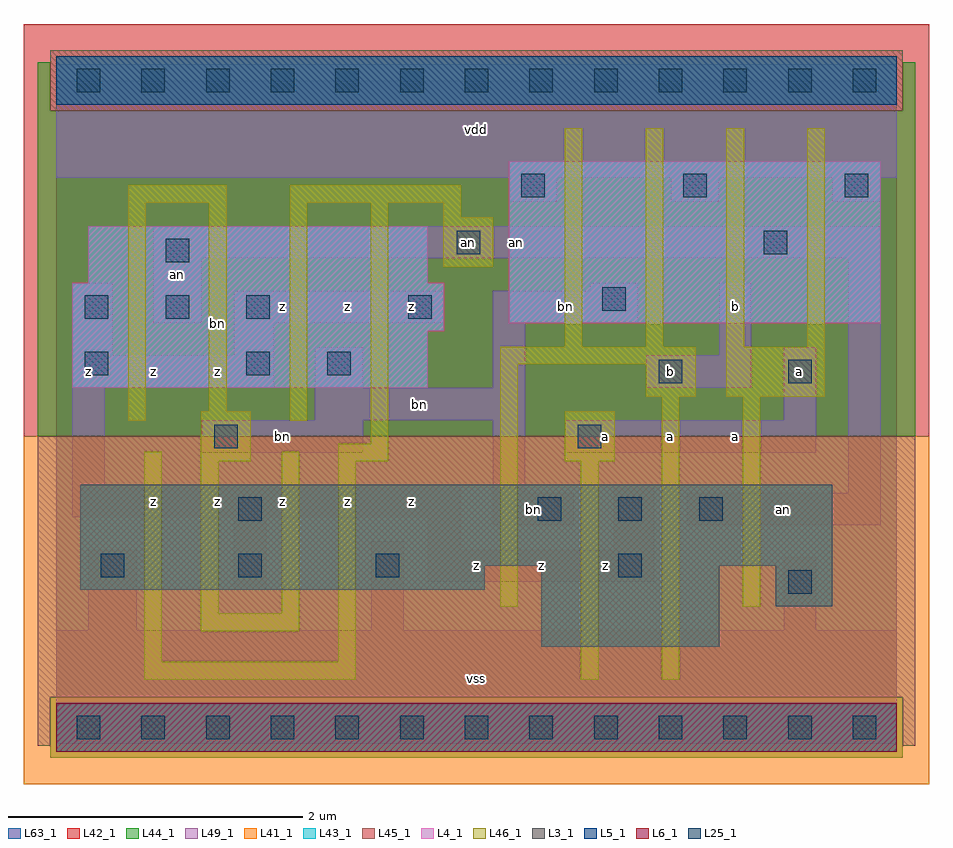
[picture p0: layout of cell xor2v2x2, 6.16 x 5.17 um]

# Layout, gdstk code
import gdstk
lib = gdstk.Library(unit=1e-6, precision=1e-09)
def R(c, l, rs):  # rectangles x0, y0, x1, y1
    for r in rs: c.add(gdstk.rectangle(r[:2], r[2:], *l))
def A(c, l, x, y, w, h, nx, ny, dx, dy):  # array of equal rectangles
    R(c, l, [(x+i*dx, y+j*dy, x+i*dx+w, y+j*dy+h) for i in range(nx) for j in range(ny)])
L3_1 = (3, 1)
L4_1 = (4, 1)
L5_1 = (5, 1)
L6_1 = (6, 1)
L25_1 = (25, 1)
L41_1 = (41, 1)
L42_1 = (42, 1)
L43_1 = (43, 1)
L44_1 = (44, 1)
L45_1 = (45, 1)
L46_1 = (46, 1)
L49_1 = (49, 1)
L63_1 = (63, 1)

xor2v2x2 = lib.new_cell('xor2v2x2')
R(xor2v2x2, L3_1, [(3.3,0.55,4.51,1.1), (4.895,0.825,5.28,1.1), (0.165,0.935,2.915,1.1), (0.165,1.1,5.28,1.65)])
R(xor2v2x2, L4_1, [(0.11,2.31,2.53,2.695), (0.11,2.695,2.64,3.025), (3.08,2.75,5.61,3.85), (0.22,3.025,2.53,3.41)])
R(xor2v2x2, L5_1, [(0,4.235,5.72,4.565)])
R(xor2v2x2, L6_1, [(0,-0.165,5.72,0.165)])
A(xor2v2x2, L25_1, 0.14, -0.08, 0.16, 0.16, 13, 2, 0.44, 4.4)
A(xor2v2x2, L25_1, 0.305, 1.02, 0.16, 0.16, 3, 1, 0.935, 0)
A(xor2v2x2, L25_1, 3.275, 1.405, 0.16, 0.16, 3, 1, 0.55, 0)
A(xor2v2x2, L25_1, 0.195, 2.78, 0.16, 0.16, 3, 1, 0.55, 0)
A(xor2v2x2, L25_1, 3.165, 3.605, 0.16, 0.16, 3, 1, 1.1, 0)
R(xor2v2x2, L25_1, [(4.98,0.91,5.14,1.07), (3.825,1.02,3.985,1.18), (1.24,1.405,1.4,1.565), (1.075,1.9,1.235,2.06), (3.55,1.9,3.71,2.06), (4.1,2.34,4.26,2.5), (4.98,2.34,5.14,2.5), (0.195,2.395,0.355,2.555), (1.295,2.395,1.455,2.555), (1.845,2.395,2.005,2.555), (2.395,2.78,2.555,2.94), (3.715,2.835,3.875,2.995), (0.745,3.165,0.905,3.325), (2.725,3.22,2.885,3.38), (4.815,3.22,4.975,3.38)])
R(xor2v2x2, L41_1, [(-0.22,-0.385,5.94,1.98)])
R(xor2v2x2, L42_1, [(-0.22,1.98,5.94,4.785)])
R(xor2v2x2, L43_1, [(0,-0.165,5.72,0.165), (3.3,0.55,4.51,1.1), (4.895,0.825,5.28,1.1), (0.165,0.935,2.915,1.1), (0.165,1.1,5.28,1.65), (0.11,2.31,2.53,2.695), (0.11,2.695,2.64,3.025), (3.08,2.75,5.61,3.85), (0.22,3.025,2.53,3.41), (0,4.235,5.72,4.565)])
R(xor2v2x2, L44_1, [(-0.04,-0.205,5.76,0.205), (-0.125,1.98,5.845,4.195), (-0.125,4.195,-0.04,4.525), (5.76,4.195,5.845,4.525)])
R(xor2v2x2, L45_1, [(-0.125,-0.125,-0.04,0.205), (5.76,-0.125,5.845,0.205), (-0.125,0.205,5.845,1.98), (-0.04,4.195,5.76,4.605)])
A(xor2v2x2, L46_1, 3.46, 2.59, 0.12, 1.485, 4, 1, 0.55, 0)
R(xor2v2x2, L46_1, [(0.6,0.325,2.04,0.445), (3.57,0.325,3.69,1.81), (4.12,0.325,4.24,2.25), (0.6,0.445,0.72,1.875), (1.92,0.445,2.04,1.81), (0.985,0.655,1.655,0.775), (0.985,0.775,1.105,1.81), (1.535,0.775,1.655,1.875), (3.02,0.82,3.14,2.47), (4.67,0.82,4.79,2.25), (0.985,1.81,1.325,2.15), (1.92,1.81,2.26,1.93), (3.46,1.81,3.8,2.15), (2.14,1.93,2.26,3.57), (0.49,2.085,0.61,3.57), (1.59,2.085,1.71,3.57), (1.04,2.15,1.16,3.57), (4.01,2.25,4.35,2.47), (4.56,2.25,5.23,2.59), (3.02,2.47,4.35,2.59), (2.635,3.13,2.975,3.47), (2.635,3.47,2.755,3.57), (0.49,3.57,1.16,3.69), (1.59,3.57,2.755,3.69)])
A(xor2v2x2, L49_1, 3.08, 3.575, 0.33, 0.165, 3, 1, 1.1, 0)
R(xor2v2x2, L49_1, [(0,-0.11,5.72,0.66), (0.22,0.66,0.55,1.21), (2.145,0.66,2.365,1.265), (4.95,0.66,5.17,1.155), (1.21,0.935,1.43,1.43), (2.53,0.99,4.07,1.21), (2.53,1.21,2.75,1.43), (3.795,1.21,4.07,1.65), (2.97,1.375,3.52,1.595), (4.29,1.375,5.61,1.595), (0.11,1.43,2.75,1.65), (2.97,1.595,3.19,2.09), (5.39,1.595,5.61,3.19), (0.11,1.65,0.33,2.31), (0.99,1.87,2.09,2.09), (3.465,1.87,5.17,2.09), (1.76,2.09,3.19,2.31), (4.95,2.09,5.17,2.585), (0.11,2.31,1.485,2.53), (1.76,2.31,2.09,2.585), (2.97,2.31,3.19,2.75), (4.015,2.31,4.73,2.53), (0.11,2.53,0.385,3.025), (1.21,2.53,1.485,2.75), (4.51,2.53,4.73,3.025), (0.66,2.75,0.99,3.19), (1.21,2.75,2.64,2.97), (2.97,2.75,3.96,2.97), (3.63,2.97,3.96,3.025), (0.66,3.19,5.61,3.41), (0,3.74,5.72,4.51)])
R(xor2v2x2, L63_1, [(0,0,5.72,4.4)])
xor2v2x2.add(gdstk.Label('bn', (1.1,2.75), layer=46, texttype=1))
xor2v2x2.add(gdstk.Label('an', (2.805,3.3), layer=49, texttype=1))
xor2v2x2.add(gdstk.Label('z', (0.66,1.54), layer=49, texttype=1))
xor2v2x2.add(gdstk.Label('z', (0.22,2.42), layer=49, texttype=1))
xor2v2x2.add(gdstk.Label('z', (0.66,2.42), layer=49, texttype=1))
xor2v2x2.add(gdstk.Label('an', (0.825,3.08), layer=49, texttype=1))
xor2v2x2.add(gdstk.Label('z', (1.1,1.54), layer=49, texttype=1))
xor2v2x2.add(gdstk.Label('z', (1.54,1.54), layer=49, texttype=1))
xor2v2x2.add(gdstk.Label('z', (1.98,1.54), layer=49, texttype=1))
xor2v2x2.add(gdstk.Label('z', (1.1,2.42), layer=49, texttype=1))
xor2v2x2.add(gdstk.Label('bn', (1.54,1.98), layer=49, texttype=1))
xor2v2x2.add(gdstk.Label('z', (1.54,2.86), layer=49, texttype=1))
xor2v2x2.add(gdstk.Label('z', (1.98,2.86), layer=49, texttype=1))
xor2v2x2.add(gdstk.Label('vss', (2.86,0.33), layer=49, texttype=1))
xor2v2x2.add(gdstk.Label('z', (2.42,1.54), layer=49, texttype=1))
xor2v2x2.add(gdstk.Label('z', (3.3,1.1), layer=49, texttype=1))
xor2v2x2.add(gdstk.Label('z', (2.86,1.1), layer=49, texttype=1))
xor2v2x2.add(gdstk.Label('bn', (2.475,2.2), layer=49, texttype=1))
xor2v2x2.add(gdstk.Label('z', (2.42,2.86), layer=49, texttype=1))
xor2v2x2.add(gdstk.Label('vdd', (2.86,4.07), layer=49, texttype=1))
xor2v2x2.add(gdstk.Label('bn', (3.245,1.485), layer=49, texttype=1))
xor2v2x2.add(gdstk.Label('z', (3.74,1.1), layer=49, texttype=1))
xor2v2x2.add(gdstk.Label('a', (4.18,1.98), layer=49, texttype=1))
xor2v2x2.add(gdstk.Label('a', (3.74,1.98), layer=49, texttype=1))
xor2v2x2.add(gdstk.Label('b', (4.18,2.42), layer=49, texttype=1))
xor2v2x2.add(gdstk.Label('bn', (3.465,2.86), layer=49, texttype=1))
xor2v2x2.add(gdstk.Label('an', (4.95,1.485), layer=49, texttype=1))
xor2v2x2.add(gdstk.Label('a', (4.62,1.98), layer=49, texttype=1))
xor2v2x2.add(gdstk.Label('a', (5.06,2.42), layer=49, texttype=1))
xor2v2x2.add(gdstk.Label('b', (4.62,2.86), layer=49, texttype=1))
xor2v2x2.add(gdstk.Label('an', (3.135,3.3), layer=49, texttype=1))

lib.write_gds('xor2v2x2.gds')
